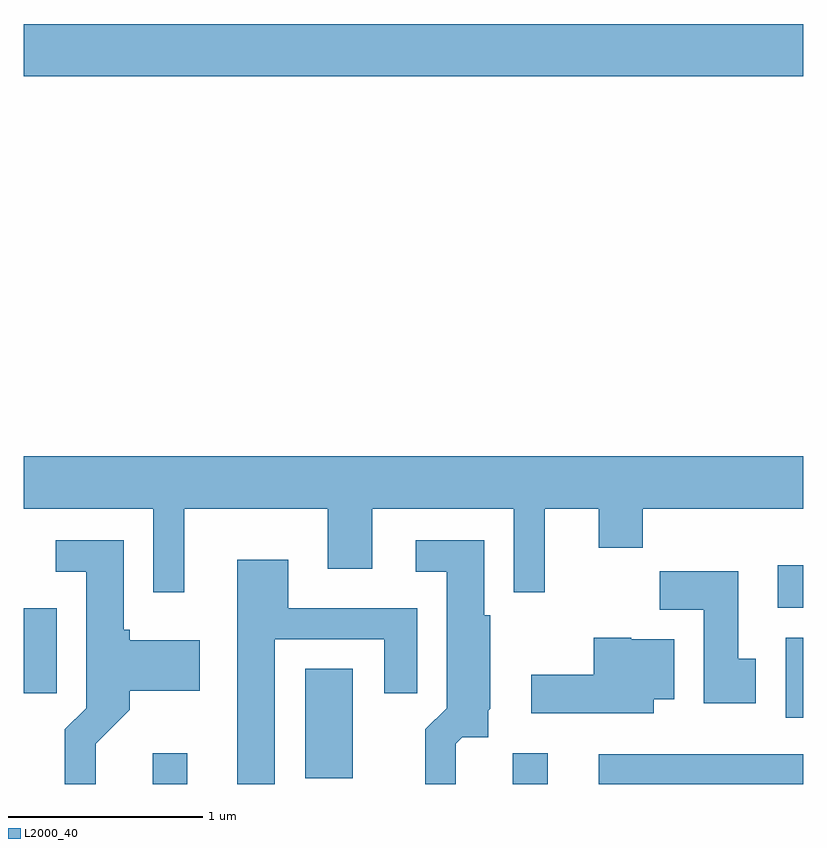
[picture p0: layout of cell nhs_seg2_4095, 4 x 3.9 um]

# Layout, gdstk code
import gdstk
lib = gdstk.Library(unit=1e-6, precision=1e-09)
def R(c, l, rs):  # rectangles x0, y0, x1, y1
    for r in rs: c.add(gdstk.rectangle(r[:2], r[2:], *l))
def P(c, l, *ps):  # polygons
    for p in ps: c.add(gdstk.Polygon(p, *l))
L2000_40 = (2000, 40)

nhs_seg2_4095 = lib.new_cell('nhs_seg2_4095')
R(nhs_seg2_4095, L2000_40, [(306.271,1035.802,306.449,1035.959), (308.121,1035.802,308.299,1035.959), (308.561,1035.802,309.611,1035.954), (307.056,1035.831,307.299,1036.394), (309.521,1036.141,309.611,1036.554), (305.611,1036.267,305.779,1036.704), (309.481,1036.706,309.611,1036.924), (305.611,1039.436,309.611,1039.704)])
P(nhs_seg2_4095, L2000_40, [(305.611,1037.216),(306.276,1037.216),(306.276,1036.787),(306.434,1036.787),(306.434,1037.216),(307.171,1037.216),(307.171,1036.906),(307.399,1036.906),(307.399,1037.216),(308.126,1037.216),(308.126,1036.787),(308.284,1036.787),(308.284,1037.216),(308.561,1037.216),(308.561,1037.016),(308.789,1037.016),(308.789,1037.216),(309.611,1037.216),(309.611,1037.484),(305.611,1037.484)],
  [(305.979,1036.008),(306.154,1036.184),(306.154,1036.281),(306.514,1036.281),(306.514,1036.539),(306.154,1036.539),(306.154,1036.594),(306.124,1036.594),(306.124,1037.054),(305.773,1037.054),(305.773,1036.891),(305.931,1036.891),(305.931,1036.192),(305.821,1036.082),(305.821,1035.802),(305.979,1035.802)],
  [(307.829,1036.008),(307.862,1036.041),(307.994,1036.041),(307.994,1036.179),(308.004,1036.189),(308.004,1036.669),(307.974,1036.669),(307.974,1037.054),(307.623,1037.054),(307.623,1036.891),(307.781,1036.891),(307.781,1036.192),(307.671,1036.082),(307.671,1035.802),(307.829,1035.802)],
  [(306.899,1036.546),(307.461,1036.546),(307.461,1036.267),(307.629,1036.267),(307.629,1036.704),(306.969,1036.704),(306.969,1036.954),(306.706,1036.954),(306.706,1035.802),(306.899,1035.802)],
  [(309.369,1036.444),(309.279,1036.444),(309.279,1036.894),(308.876,1036.894),(308.876,1036.696),(309.101,1036.696),(309.101,1036.216),(309.369,1036.216)],
  [(308.844,1036.236),(308.949,1036.236),(308.949,1036.544),(308.73,1036.544),(308.73,1036.554),(308.536,1036.554),(308.536,1036.364),(308.216,1036.364),(308.216,1036.166),(308.844,1036.166)])

lib.write_gds('nhs_seg2_4095.gds')
